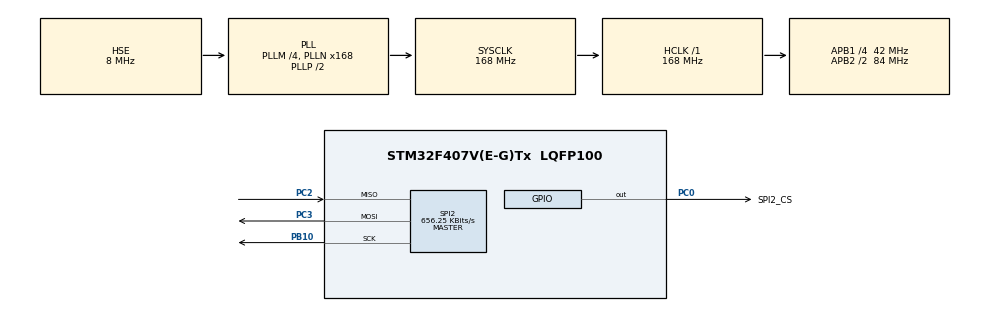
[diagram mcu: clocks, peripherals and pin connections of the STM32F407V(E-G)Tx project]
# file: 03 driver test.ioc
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Mcu.Family=STM32F4
Mcu.Name=STM32F407V(E-G)Tx
Mcu.Package=LQFP100
NVIC.PriorityGroup=NVIC_PRIORITYGROUP_0
PA13.Mode=Serial_Wire
PA13.Signal=SYS_JTMS-SWDIO
PA14.Mode=Serial_Wire
PA14.Signal=SYS_JTCK-SWCLK
PB10.Mode=Full_Duplex_Master
PB10.Signal=SPI2_SCK
PB3.Signal=SYS_JTDO-SWO
PC0.GPIO_Label=SPI2_CS
PC0.PinState=GPIO_PIN_SET
PC0.Signal=GPIO_Output
PC2.Mode=Full_Duplex_Master
PC2.Signal=SPI2_MISO
PC3.Mode=Full_Duplex_Master
PC3.Signal=SPI2_MOSI
PH0-OSC_IN.Mode=HSE-External-Oscillator
PH0-OSC_IN.Signal=RCC_OSC_IN
PH1-OSC_OUT.Mode=HSE-External-Oscillator
PH1-OSC_OUT.Signal=RCC_OSC_OUT
ProjectManager.HeapSize=0x200
ProjectManager.StackSize=0x400
ProjectManager.TargetToolchain=STM32CubeIDE
RCC.48MHZClocksFreq_Value=48000000
RCC.AHBFreq_Value=168000000
RCC.APB1CLKDivider=RCC_HCLK_DIV4
RCC.APB1Freq_Value=42000000
RCC.APB1TimFreq_Value=84000000
RCC.APB2CLKDivider=RCC_HCLK_DIV2
RCC.APB2Freq_Value=84000000
RCC.APB2TimFreq_Value=168000000
RCC.CortexFreq_Value=168000000
RCC.HCLKFreq_Value=168000000
RCC.HSE_VALUE=8000000
RCC.HSI_VALUE=16000000
RCC.LSE_VALUE=32768
RCC.PLLM=4
RCC.PLLN=168
RCC.PLLQ=7
RCC.PLLSourceVirtual=RCC_PLLSOURCE_HSE
RCC.SYSCLKFreq_VALUE=168000000
RCC.SYSCLKSource=RCC_SYSCLKSOURCE_PLLCLK
RCC.VCOOutputFreq_Value=336000000
SPI2.BaudRatePrescaler=SPI_BAUDRATEPRESCALER_64
SPI2.CLKPhase=SPI_PHASE_2EDGE
SPI2.CLKPolarity=SPI_POLARITY_HIGH
SPI2.CalculateBaudRate=656.25 KBits/s
SPI2.Direction=SPI_DIRECTION_2LINES
SPI2.Mode=SPI_MODE_MASTER
SPI2.VirtualType=VM_MASTER
board=STM32F407G-DISC1

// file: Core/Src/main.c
/* USER CODE BEGIN Header */
/**
  ******************************************************************************
  * @file           : main.c
  * @brief          : Main program body
  ******************************************************************************
  * @attention
  *
  * Copyright (c) 2024 STMicroelectronics.
  * All rights reserved.
  *
  * This software is licensed under terms that can be found in the LICENSE file
  * in the root directory of this software component.
  * If no LICENSE file comes with this software, it is provided AS-IS.
  *
  ******************************************************************************
  */
/* USER CODE END Header */
#include "main.h"
#include "spi.h"
#include "gpio.h"

/* USER CODE BEGIN Includes */
#include "MPU9250.h"
#include "stdio.h"
#include <stdlib.h>
/* USER CODE END Includes */

void SystemClock_Config(void);
/* USER CODE BEGIN PFP */
void mpu_callback(void);
/* USER CODE END PFP */

/* USER CODE BEGIN 0 */
MPU9250_t mpu9250;
/* USER CODE END 0 */

int main(void)
{
  /* USER CODE BEGIN 1 */
	mpu9250.settings.gFullScaleRange = GFSR_500DPS;
	mpu9250.settings.aFullScaleRange = AFSR_4G;
	mpu9250.settings.CS_PIN = GPIO_PIN_0;
	mpu9250.settings.CS_PORT= GPIOC;
	mpu9250.attitude.tau = 0.98;
	mpu9250.attitude.dt = 0.010;
  /* USER CODE END 1 */

  /* MCU Configuration--------------------------------------------------------*/

  /* Reset of all peripherals, Initializes the Flash interface and the Systick. */
  HAL_Init();

  /* Configure the system clock */
  SystemClock_Config();

  /* Initialize all configured peripherals */
  MX_GPIO_Init();
  MX_SPI2_Init();
  /* USER CODE BEGIN 2 */
  if (MPU_begin(&hspi2, &mpu9250) != 1)
    {
	  printf("mpu initialization Error!\n");
      while (1){}
    }
  MPU_calibrateGyro(&hspi2, &mpu9250, 1000);
  /* USER CODE END 2 */

  /* Infinite loop */
  while (1)
  {
	  //printf("Hello testing\n");
	  //HAL_Delay(1000);
	  mpu_callback();
	  HAL_Delay(10);

  }
}

void SystemClock_Config(void)
{
  RCC_OscInitTypeDef RCC_OscInitStruct = {0};
  RCC_ClkInitTypeDef RCC_ClkInitStruct = {0};

  /** Configure the main internal regulator output voltage
  */
  __HAL_RCC_PWR_CLK_ENABLE();
  __HAL_PWR_VOLTAGESCALING_CONFIG(PWR_REGULATOR_VOLTAGE_SCALE1);

  /** Initializes the RCC Oscillators according to the specified parameters
  * in the RCC_OscInitTypeDef structure.
  */
  RCC_OscInitStruct.OscillatorType = RCC_OSCILLATORTYPE_HSE;
  RCC_OscInitStruct.HSEState = RCC_HSE_ON;
  RCC_OscInitStruct.PLL.PLLState = RCC_PLL_ON;
  RCC_OscInitStruct.PLL.PLLSource = RCC_PLLSOURCE_HSE;
  RCC_OscInitStruct.PLL.PLLM = 4;
  RCC_OscInitStruct.PLL.PLLN = 168;
  RCC_OscInitStruct.PLL.PLLP = RCC_PLLP_DIV2;
  RCC_OscInitStruct.PLL.PLLQ = 7;
  if (HAL_RCC_OscConfig(&RCC_OscInitStruct) != HAL_OK)
  {
    Error_Handler();
  }

  /** Initializes the CPU, AHB and APB buses clocks
  */
  RCC_ClkInitStruct.ClockType = RCC_CLOCKTYPE_HCLK|RCC_CLOCKTYPE_SYSCLK
                              |RCC_CLOCKTYPE_PCLK1|RCC_CLOCKTYPE_PCLK2;
  RCC_ClkInitStruct.SYSCLKSource = RCC_SYSCLKSOURCE_PLLCLK;
  RCC_ClkInitStruct.AHBCLKDivider = RCC_SYSCLK_DIV1;
  RCC_ClkInitStruct.APB1CLKDivider = RCC_HCLK_DIV4;
  RCC_ClkInitStruct.APB2CLKDivider = RCC_HCLK_DIV2;

  if (HAL_RCC_ClockConfig(&RCC_ClkInitStruct, FLASH_LATENCY_5) != HAL_OK)
  {
    Error_Handler();
  }
}

/* USER CODE BEGIN 4 */
int _write(int file, char *ptr, int len)
{
	int DataIdx;
	for(DataIdx = 0; DataIdx < len; DataIdx++)
		ITM_SendChar(*ptr++);
	return len;
}

void mpu_callback(void)
{
	MPU_calcAttitude(&hspi2, &mpu9250);
    int16_t roll = mpu9250.attitude.r;
    //uint8_t rollDecimal = abs(roll % 10);
    int16_t pitch = mpu9250.attitude.p;
    //uint8_t pitchDecimal = abs(pitch % 10);
    int16_t yaw = mpu9250.attitude.y;
    //uint8_t yawDecimal = abs(yaw % 10);

    printf("roll  : %d\n",roll);
    printf("pitch : %d\n",pitch);
    //printf("yaw   : %d\n",yaw);
    //float ax = mpu9250.sensorData.ax;
    //float ay = mpu9250.sensorData.ay;
    //float az = mpu9250.sensorData.az;
    //float gx = mpu9250.sensorData.gx;
    //float gy = mpu9250.sensorData.gy;
    //float gz = mpu9250.sensorData.gz;

    //printf("Accelero x: %.5f\n",ax);
   	//printf("Accelero y: %.5f\n",ay);
   	//printf("Accelero z: %.5f\n",az);
   	//printf("Gyro x: %.5f\n",gx);
   	//printf("Gyro y: %.5f\n",gy);
   	//printf("Gyro z: %.5f\n",gz);
}

/* USER CODE END 4 */

void Error_Handler(void)
{
  __disable_irq();
  while (1)
  {
  }
}
